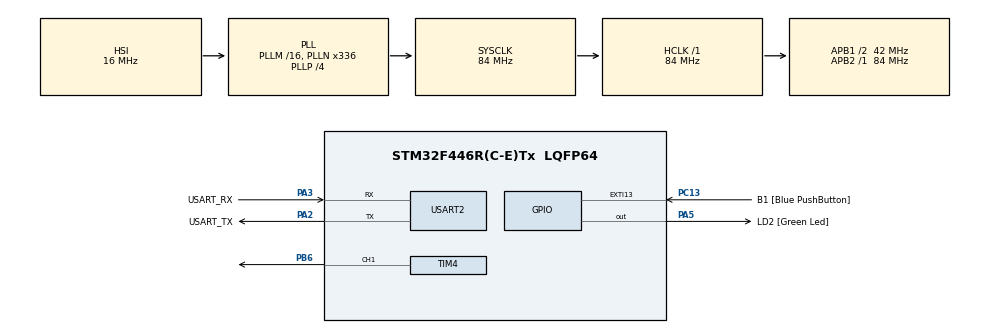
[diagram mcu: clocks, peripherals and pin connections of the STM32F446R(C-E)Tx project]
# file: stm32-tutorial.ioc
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Mcu.Family=STM32F4
Mcu.Name=STM32F446R(C-E)Tx
Mcu.Package=LQFP64
Mcu.UserConstants=SAMPLE_RANGE,1000
NVIC.EXTI15_10_IRQn=true\:0\:0\:false\:false\:true\:true\:true\:true
NVIC.PriorityGroup=NVIC_PRIORITYGROUP_0
NVIC.TIM6_DAC_IRQn=true\:0\:0\:false\:false\:true\:true\:true\:true
NVIC.TIM7_IRQn=true\:0\:0\:false\:false\:true\:true\:true\:true
PA13.GPIO_Label=TMS
PA13.Mode=Serial_Wire
PA13.Signal=SYS_JTMS-SWDIO
PA14.GPIO_Label=TCK
PA14.Mode=Serial_Wire
PA14.Signal=SYS_JTCK-SWCLK
PA2.GPIO_Label=USART_TX
PA2.Mode=Asynchronous
PA2.Signal=USART2_TX
PA3.GPIO_Label=USART_RX
PA3.Mode=Asynchronous
PA3.Signal=USART2_RX
PA5.GPIO_Label=LD2 [Green Led]
PA5.Signal=GPIO_Output
PB3.GPIO_Label=SWO
PB3.Signal=SYS_JTDO-SWO
PB6.Signal=S_TIM4_CH1
PC13.GPIO_Label=B1 [Blue PushButton]
PC13.GPIO_ModeDefaultEXTI=GPIO_MODE_IT_RISING
PC13.GPIO_PuPd=GPIO_PULLUP
PC13.Signal=GPXTI13
PC14-OSC32_IN.Mode=LSE-External-Oscillator
PC14-OSC32_IN.Signal=RCC_OSC32_IN
PC15-OSC32_OUT.Mode=LSE-External-Oscillator
PC15-OSC32_OUT.Signal=RCC_OSC32_OUT
PH0-OSC_IN.Mode=HSE-External-Oscillator
PH0-OSC_IN.Signal=RCC_OSC_IN
PH1-OSC_OUT.Mode=HSE-External-Oscillator
PH1-OSC_OUT.Signal=RCC_OSC_OUT
ProjectManager.HeapSize=0x200
ProjectManager.StackSize=0x400
ProjectManager.TargetToolchain=CMake
RCC.48MHZClocksFreq_Value=84000000
RCC.AHBFreq_Value=84000000
RCC.APB1CLKDivider=RCC_HCLK_DIV2
RCC.APB1Freq_Value=42000000
RCC.APB1TimFreq_Value=84000000
RCC.APB2Freq_Value=84000000
RCC.APB2TimFreq_Value=84000000
RCC.CortexFreq_Value=84000000
RCC.FLatency-AdvancedSettings=FLASH_LATENCY_2
RCC.HCLKFreq_Value=84000000
RCC.HSE_VALUE=8000000
RCC.HSI_VALUE=16000000
RCC.PLLN=336
RCC.PLLP=RCC_PLLP_DIV4
RCC.SYSCLKFreq_VALUE=84000000
RCC.SYSCLKSource=RCC_SYSCLKSOURCE_PLLCLK
RCC.USBFreq_Value=168000000
RCC.VCOOutputFreq_Value=336000000
SH.S_TIM4_CH1.0=TIM4_CH1,PWM Generation1 CH1
TIM4.Channel-PWM\ Generation1\ CH1=TIM_CHANNEL_1
TIM4.Period=SAMPLE_RANGE - 1
TIM4.Prescaler=839
TIM4.Pulse-PWM\ Generation1\ CH1=700
TIM6.Period=9999
TIM6.Prescaler=8399
TIM7.Period=29999
TIM7.Prescaler=25199
USART2.VirtualMode=VM_ASYNC
VP_TIM4_VS_ClockSourceINT.Mode=Internal
VP_TIM6_VS_ClockSourceINT.Mode=Enable_Timer
VP_TIM7_VS_ClockSourceINT.Mode=Enable_Timer
board=NUCLEO-F446RE

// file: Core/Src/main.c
/* USER CODE BEGIN Header */
/**
  ******************************************************************************
  * @file           : main.c
  * @brief          : Main program body
  ******************************************************************************
  * @attention
  *
  * Copyright (c) 2026 STMicroelectronics.
  * All rights reserved.
  *
  * This software is licensed under terms that can be found in the LICENSE file
  * in the root directory of this software component.
  * If no LICENSE file comes with this software, it is provided AS-IS.
  *
  ******************************************************************************
  */
/* USER CODE END Header */
#include "main.h"

/* USER CODE BEGIN Includes */
#include <stdio.h>
#include <math.h>

/* USER CODE END Includes */

/* USER CODE BEGIN PD */
/*
 * Debounce interval (milliseconds) used when processing button presses
 * in the main loop. We keep debounce in the main loop (not in EXTI)
 * as requested so EXTI only sets the `btn_pressed` flag.
 */
#define DEBOUNCE_MS 200

#define SAMPLE_DELAY 10
#define SAMPLE_FREQUENCY (1000 / SAMPLE_DELAY) // 100 Hz sample frequency
#define SAMPLE_MID (SAMPLE_RANGE/2)

/* USER CODE END PD */

TIM_HandleTypeDef htim4;
TIM_HandleTypeDef htim6;
TIM_HandleTypeDef htim7;

UART_HandleTypeDef huart2;

/* USER CODE BEGIN PV */
float angle = 0;
float angle_increment = 0.5 * 2 * M_PI / SAMPLE_FREQUENCY;

volatile uint8_t btn_pressed = 0;
volatile uint32_t last_btn_tick = 0;
uint8_t pwm_on = 0; // 1 = running, 0 = stopped
uint16_t blink_delays[] = {500, 250, 100, 50, 25};
uint8_t blink_idx = 0;
/* USER CODE END PV */

void SystemClock_Config(void);
static void MX_GPIO_Init(void);
static void MX_USART2_UART_Init(void);
static void MX_TIM6_Init(void);
static void MX_TIM7_Init(void);
static void MX_TIM4_Init(void);

/* USER CODE BEGIN 0 */

// Send printf to uart2
int _write(int fd, char* ptr, int len) {
  // overwrites the built-in _write function, which is called by printf and other stdio functions
  HAL_StatusTypeDef hstatus;

  if (fd == 1 || fd == 2) {
    hstatus = HAL_UART_Transmit(&huart2, (uint8_t *) ptr, len, HAL_MAX_DELAY);
    if (hstatus == HAL_OK)
      return len;
    else
      return -1;
  }
  return -1;
}

inline uint32_t HAL_GetTick(void)
{
  return uwTick;
}

void HAL_GPIO_EXTI_Callback(uint16_t GPIO_Pin)
{
  if (GPIO_Pin == B1_Pin) {
    btn_pressed = 1; // set flag to indicate button was pressed
  }
}

void HAL_TIM_PeriodElapsedCallback(TIM_HandleTypeDef *htim) {
  if (htim->Instance == TIM6) {
    printf("tick TIM6: %lu\n", HAL_GetTick());
  }
  if (htim->Instance == TIM7) {
    printf("tick TIM7: %lu\n", HAL_GetTick());
  }
  // HAL_GPIO_TogglePin(LD2_GPIO_Port, LD2_Pin);
  // printf("tick: %lu\n", HAL_GetTick());
}

/* USER CODE END 0 */

int main(void)
{

  /* MCU Configuration--------------------------------------------------------*/

  /* Reset of all peripherals, Initializes the Flash interface and the Systick. */
  HAL_Init();

  /* Configure the system clock */
  SystemClock_Config();

  /* Initialize all configured peripherals */
  MX_GPIO_Init();
  MX_USART2_UART_Init();
  MX_TIM6_Init();
  MX_TIM7_Init();
  MX_TIM4_Init();
  /* USER CODE BEGIN 2 */

  // HAL_TIM_Base_Start_IT(&htim6);
  // HAL_TIM_Base_Start_IT(&htim7);
  // HAL_TIM_Base_Start(&htim6);

  // HAL_TIM_PWM_Start(&htim4, TIM_CHANNEL_1);

  /* USER CODE END 2 */

  /* Infinite loop */
  /* USER CODE BEGIN WHILE */
  uint32_t now = HAL_GetTick();

  uint32_t next_loop_counter_log = now + 1000;

  // uint32_t next_blink = now + blink_delays[blink_idx];
  // uint32_t next_blink = now + 300;

  // uint16_t new_period = htim4.Init.Period * 16;
  // uint16_t new_prescaler = htim4.Init.Prescaler;
  // uint16_t new_pulse = new_period / 2;
  // static const double SEMITONE_RATIO = 1.0594630943592952646;
  // static const int minor_scale[] = {0, 2, 3, 5, 7, 8, 10, 12};
  uint32_t loop_counter = 0;
  uint32_t next_sample = now + SAMPLE_DELAY;

  printf("SYSCLK=%lu\r\n", HAL_RCC_GetSysClockFreq());
  printf("HCLK=%lu\r\n", HAL_RCC_GetHCLKFreq());
  HAL_TIM_PWM_Start(&htim4, TIM_CHANNEL_1);

  while (1)
  {
    /* USER CODE END WHILE */

    /* USER CODE BEGIN 3 */
    now = HAL_GetTick();
    // now = uwTick; // directly read the tick count variable to avoid function call overhead, since we're already in a critical timing section (main loop)
    /*
    try not to do operations in the if check
    do it inside the if block, so that the time taken by the operations doesn't affect
    the timing of the next blink
    */

    // log loop counter
    if (now >= next_loop_counter_log) {
      printf("loop_counter: %lu\n", loop_counter);
      loop_counter = 0;
      next_loop_counter_log = now + 1000;
    }

    // update PWM duty cycle to generate a sine wave
    if (now >= next_sample) {
      angle += angle_increment;
      if (angle >= 2 * M_PI) {
        angle -= 2 * M_PI;
      }
      __HAL_TIM_SET_COMPARE(&htim4, TIM_CHANNEL_1, SAMPLE_MID - (SAMPLE_MID * sin(angle))); // 50% duty cycle
      next_sample = now + SAMPLE_DELAY;
    }

    // if (btn_pressed) {
    //   // btn_pressed = 0;

    //   // debounce handled here in the main loop: ignore presses within DEBOUNCE_MS
    //   // if ((now - last_btn_tick) >= DEBOUNCE_MS) {
    //     // last_btn_tick = now;
    //   if (now >= next_blink) {
    //     // if (pwm_on) {
    //     //   HAL_TIM_PWM_Stop(&htim4, TIM_CHANNEL_1);
    //     //   pwm_on = 0;
    //     //   printf("PWM stopped\n");
    //     // } else
    //     {
    //       HAL_TIM_PWM_Start(&htim4, TIM_CHANNEL_1);
    //       new_period /= SEMITONE_RATIO; // double the frequency
    //       __HAL_TIM_SET_AUTORELOAD(&htim4, new_period);

    //       // new_prescaler = (new_prescaler + 1) * 2 - 1; // double the timer clock frequency
    //       // __HAL_TIM_SET_PRESCALER(&htim4, new_prescaler);
    //       // __HAL_TIM_GENERATE_EVENT(&htim4, TIM_EVENTSOURCE_UPDATE);
    //       // HAL_TIM_GenerateEvent(&htim4, TIM_EVENTSOURCE_UPDATE);

    //       new_pulse = new_period / 2; // keep 50% duty cycle

    //       // printf("new period: %u\n", new_period);
    //       __HAL_TIM_SET_COMPARE(&htim4, TIM_CHANNEL_1, new_pulse); // 50% duty cycle

    //       pwm_on = 1;
    //       // printf("PWM started\n");
    //     }
    //     next_blink = now + 300;
    //   }
    //   // blink_idx = (blink_idx + 1) % (sizeof(blink_delays) / sizeof(blink_delays[0]));
    //   // printf("button pressed\n");
    // }
  loop_counter++;
  }
  /* USER CODE END 3 */
}

void SystemClock_Config(void)
{
  RCC_OscInitTypeDef RCC_OscInitStruct = {0};
  RCC_ClkInitTypeDef RCC_ClkInitStruct = {0};

  /** Configure the main internal regulator output voltage
  */
  __HAL_RCC_PWR_CLK_ENABLE();
  __HAL_PWR_VOLTAGESCALING_CONFIG(PWR_REGULATOR_VOLTAGE_SCALE3);

  /** Initializes the RCC Oscillators according to the specified parameters
  * in the RCC_OscInitTypeDef structure.
  */
  RCC_OscInitStruct.OscillatorType = RCC_OSCILLATORTYPE_HSI;
  RCC_OscInitStruct.HSIState = RCC_HSI_ON;
  RCC_OscInitStruct.HSICalibrationValue = RCC_HSICALIBRATION_DEFAULT;
  RCC_OscInitStruct.PLL.PLLState = RCC_PLL_ON;
  RCC_OscInitStruct.PLL.PLLSource = RCC_PLLSOURCE_HSI;
  RCC_OscInitStruct.PLL.PLLM = 16;
  RCC_OscInitStruct.PLL.PLLN = 336;
  RCC_OscInitStruct.PLL.PLLP = RCC_PLLP_DIV4;
  RCC_OscInitStruct.PLL.PLLQ = 2;
  RCC_OscInitStruct.PLL.PLLR = 2;
  if (HAL_RCC_OscConfig(&RCC_OscInitStruct) != HAL_OK)
  {
    Error_Handler();
  }

  /** Initializes the CPU, AHB and APB buses clocks
  */
  RCC_ClkInitStruct.ClockType = RCC_CLOCKTYPE_HCLK|RCC_CLOCKTYPE_SYSCLK
                              |RCC_CLOCKTYPE_PCLK1|RCC_CLOCKTYPE_PCLK2;
  RCC_ClkInitStruct.SYSCLKSource = RCC_SYSCLKSOURCE_PLLCLK;
  RCC_ClkInitStruct.AHBCLKDivider = RCC_SYSCLK_DIV1;
  RCC_ClkInitStruct.APB1CLKDivider = RCC_HCLK_DIV2;
  RCC_ClkInitStruct.APB2CLKDivider = RCC_HCLK_DIV1;

  if (HAL_RCC_ClockConfig(&RCC_ClkInitStruct, FLASH_LATENCY_2) != HAL_OK)
  {
    Error_Handler();
  }
}

static void MX_TIM4_Init(void)
{

  TIM_ClockConfigTypeDef sClockSourceConfig = {0};
  TIM_MasterConfigTypeDef sMasterConfig = {0};
  TIM_OC_InitTypeDef sConfigOC = {0};

  htim4.Instance = TIM4;
  htim4.Init.Prescaler = 839;
  htim4.Init.CounterMode = TIM_COUNTERMODE_UP;
  htim4.Init.Period = SAMPLE_RANGE - 1;
  htim4.Init.ClockDivision = TIM_CLOCKDIVISION_DIV1;
  htim4.Init.AutoReloadPreload = TIM_AUTORELOAD_PRELOAD_DISABLE;
  if (HAL_TIM_Base_Init(&htim4) != HAL_OK)
  {
    Error_Handler();
  }
  sClockSourceConfig.ClockSource = TIM_CLOCKSOURCE_INTERNAL;
  if (HAL_TIM_ConfigClockSource(&htim4, &sClockSourceConfig) != HAL_OK)
  {
    Error_Handler();
  }
  if (HAL_TIM_PWM_Init(&htim4) != HAL_OK)
  {
    Error_Handler();
  }
  sMasterConfig.MasterOutputTrigger = TIM_TRGO_RESET;
  sMasterConfig.MasterSlaveMode = TIM_MASTERSLAVEMODE_DISABLE;
  if (HAL_TIMEx_MasterConfigSynchronization(&htim4, &sMasterConfig) != HAL_OK)
  {
    Error_Handler();
  }
  sConfigOC.OCMode = TIM_OCMODE_PWM1;
  sConfigOC.Pulse = 700;
  sConfigOC.OCPolarity = TIM_OCPOLARITY_HIGH;
  sConfigOC.OCFastMode = TIM_OCFAST_DISABLE;
  if (HAL_TIM_PWM_ConfigChannel(&htim4, &sConfigOC, TIM_CHANNEL_1) != HAL_OK)
  {
    Error_Handler();
  }
  HAL_TIM_MspPostInit(&htim4);

}

static void MX_TIM6_Init(void)
{

  TIM_MasterConfigTypeDef sMasterConfig = {0};

  htim6.Instance = TIM6;
  htim6.Init.Prescaler = 8399;
  htim6.Init.CounterMode = TIM_COUNTERMODE_UP;
  htim6.Init.Period = 9999;
  htim6.Init.AutoReloadPreload = TIM_AUTORELOAD_PRELOAD_DISABLE;
  if (HAL_TIM_Base_Init(&htim6) != HAL_OK)
  {
    Error_Handler();
  }
  sMasterConfig.MasterOutputTrigger = TIM_TRGO_RESET;
  sMasterConfig.MasterSlaveMode = TIM_MASTERSLAVEMODE_DISABLE;
  if (HAL_TIMEx_MasterConfigSynchronization(&htim6, &sMasterConfig) != HAL_OK)
  {
    Error_Handler();
  }

}

static void MX_TIM7_Init(void)
{

  TIM_MasterConfigTypeDef sMasterConfig = {0};

  htim7.Instance = TIM7;
  htim7.Init.Prescaler = 25199;
  htim7.Init.CounterMode = TIM_COUNTERMODE_UP;
  htim7.Init.Period = 29999;
  htim7.Init.AutoReloadPreload = TIM_AUTORELOAD_PRELOAD_DISABLE;
  if (HAL_TIM_Base_Init(&htim7) != HAL_OK)
  {
    Error_Handler();
  }
  sMasterConfig.MasterOutputTrigger = TIM_TRGO_RESET;
  sMasterConfig.MasterSlaveMode = TIM_MASTERSLAVEMODE_DISABLE;
  if (HAL_TIMEx_MasterConfigSynchronization(&htim7, &sMasterConfig) != HAL_OK)
  {
    Error_Handler();
  }

}

static void MX_USART2_UART_Init(void)
{

  huart2.Instance = USART2;
  huart2.Init.BaudRate = 115200;
  huart2.Init.WordLength = UART_WORDLENGTH_8B;
  huart2.Init.StopBits = UART_STOPBITS_1;
  huart2.Init.Parity = UART_PARITY_NONE;
  huart2.Init.Mode = UART_MODE_TX_RX;
  huart2.Init.HwFlowCtl = UART_HWCONTROL_NONE;
  huart2.Init.OverSampling = UART_OVERSAMPLING_16;
  if (HAL_UART_Init(&huart2) != HAL_OK)
  {
    Error_Handler();
  }

}

static void MX_GPIO_Init(void)
{
  GPIO_InitTypeDef GPIO_InitStruct = {0};

  /* GPIO Ports Clock Enable */
  __HAL_RCC_GPIOC_CLK_ENABLE();
  __HAL_RCC_GPIOH_CLK_ENABLE();
  __HAL_RCC_GPIOA_CLK_ENABLE();
  __HAL_RCC_GPIOB_CLK_ENABLE();

  /*Configure GPIO pin Output Level */
  HAL_GPIO_WritePin(LD2_GPIO_Port, LD2_Pin, GPIO_PIN_RESET);

  /*Configure GPIO pin : B1_Pin */
  GPIO_InitStruct.Pin = B1_Pin;
  GPIO_InitStruct.Mode = GPIO_MODE_IT_RISING;
  GPIO_InitStruct.Pull = GPIO_PULLUP;
  HAL_GPIO_Init(B1_GPIO_Port, &GPIO_InitStruct);

  /*Configure GPIO pin : LD2_Pin */
  GPIO_InitStruct.Pin = LD2_Pin;
  GPIO_InitStruct.Mode = GPIO_MODE_OUTPUT_PP;
  GPIO_InitStruct.Pull = GPIO_NOPULL;
  GPIO_InitStruct.Speed = GPIO_SPEED_FREQ_LOW;
  HAL_GPIO_Init(LD2_GPIO_Port, &GPIO_InitStruct);

  /* EXTI interrupt init*/
  HAL_NVIC_SetPriority(EXTI15_10_IRQn, 0, 0);
  HAL_NVIC_EnableIRQ(EXTI15_10_IRQn);

}

void Error_Handler(void)
{
  __disable_irq();
  while (1)
  {
  }
}
